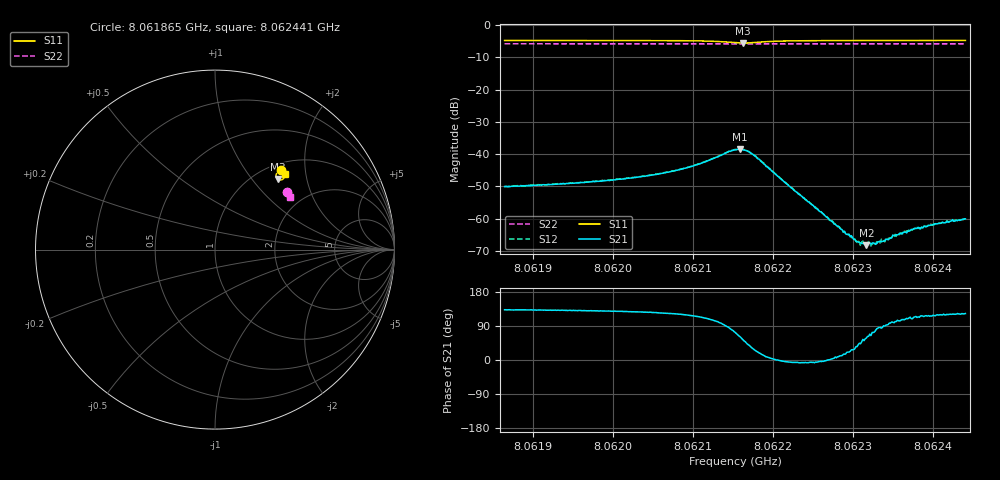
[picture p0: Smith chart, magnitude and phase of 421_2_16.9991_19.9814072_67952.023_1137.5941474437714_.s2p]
#  HZ  S  RI  R  50.00
! Rohde & Schwarz Vector Network Analyzer
! Rohde-Schwarz,ZNB20-2Port,1311601062101988,3.16
! Created: UTC 3/20/2024, 11:10:57 PM
! freq[Hz]  re:S11  im:S11  re:S21  im:S21  re:S12  im:S12  re:S22  im:S22
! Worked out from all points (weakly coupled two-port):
!   401 points, 8.061865 GHz to 8.062441 GHz, reference 50 ohm
!   highest |S21| = -38.54 dB at 8.0621587 GHz (marker M1); lowest = -68.2 dB at 8.0623171 GHz (marker M2)
!   lowest |S11| = -5.6 dB at 8.0621631 GHz (marker M3), VSWR 3.21, Z = 62.6 + j67.9 ohm
!   |S11| at or under -10 dB: nowhere
!   |S22| runs from -5.9 to -5.8 dB; largest |S21 - S12| = 0.00079
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8.06186498e9  0.3684 0.4429  -0.00212 0.0023  -0.00196 0.00245  0.4 0.3198
8.06196146e9  0.3752 0.4368  -0.00233 0.00276  -0.0022 0.00289  0.4035 0.3148
8.0620133e9  0.3794 0.4321  -0.00252 0.00322  -0.00234 0.0034  0.4055 0.3122
8.06205794e9  0.3833 0.4268  -0.00277 0.00405  -0.00253 0.00426  0.4072 0.3099
8.06209826e9  0.3871 0.4177  -0.00292 0.00568  -0.0026 0.00592  0.4087 0.3076
8.06215298e9  0.3648 0.3877  0.00333 0.0111  0.00405 0.0111  0.409 0.3037
8.06215874e9  0.3552 0.3892  0.00548 0.0105  0.00611 0.0102  0.4086 0.3038
8.06216306e9  0.3485 0.3929  0.00697 0.00928  0.00762 0.00906  0.4086 0.3037
8.06217602e9  0.3398 0.4123  0.00851 0.00472  0.00891 0.0043  0.4092 0.3042
8.0622005e9  0.3531 0.433  0.00527 0.000247  0.00532 -4.26e-05  0.4108 0.3038
8.06224946e9  0.3719 0.4346  0.00162 -0.000182  0.00161 -0.000313  0.4132 0.3011
8.06228978e9  0.3787 0.4318  0.000614 0.00017  0.000605 0.000156  0.4149 0.299
8.06230274e9  0.3804 0.4309  0.000412 0.000237  0.000427 0.000229  0.4153 0.2985
8.06230706e9  0.3809 0.4306  0.000328 0.000281  0.000366 0.000274  0.4154 0.2981
8.06231714e9  0.3821 0.4299  0.000207 0.00033  0.000244 0.000326  0.4158 0.2976
8.06232578e9  0.3829 0.4293  0.000126 0.000402  0.000159 0.000378  0.4161 0.2971
8.06234594e9  0.3849 0.4281  -6.37e-05 0.000483  -4.38e-05 0.000498  0.4169 0.296
8.06235314e9  0.3854 0.4275  -0.000109 0.000535  -9.66e-05 0.000562  0.4171 0.2957
8.06236754e9  0.3866 0.4267  -0.000202 0.000564  -0.000158 0.000622  0.4177 0.2949
8.06237906e9  0.3876 0.426  -0.000299 0.000642  -0.000219 0.000646  0.4179 0.2943
8.06241506e9  0.3903 0.4237  -0.000419 0.00075  -0.000403 0.000784  0.4194 0.2925
8.06244098e9  0.3921 0.4223  -0.000532 0.000833  -0.000495 0.000849  0.4203 0.2911
